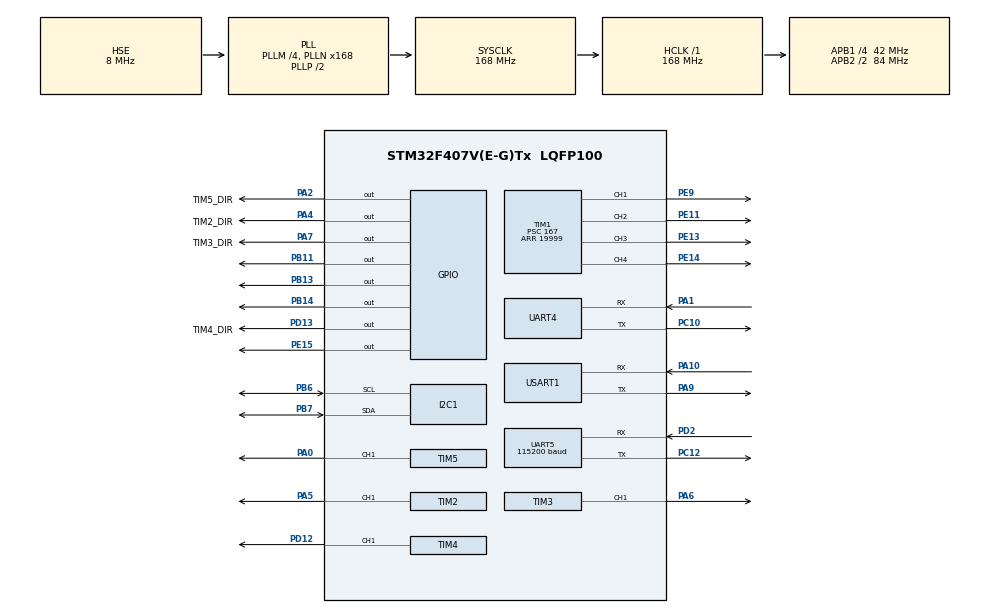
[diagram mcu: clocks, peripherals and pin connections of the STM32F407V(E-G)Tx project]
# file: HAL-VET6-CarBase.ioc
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Dma.Request0=UART5_RX
Dma.Request1=USART1_RX
Dma.Request2=USART1_TX
Dma.Request3=UART4_RX
Dma.UART4_RX.3.Direction=DMA_PERIPH_TO_MEMORY
Dma.UART4_RX.3.FIFOMode=DMA_FIFOMODE_DISABLE
Dma.UART4_RX.3.Instance=DMA1_Stream2
Dma.UART4_RX.3.MemDataAlignment=DMA_MDATAALIGN_BYTE
Dma.UART4_RX.3.MemInc=DMA_MINC_ENABLE
Dma.UART4_RX.3.Mode=DMA_CIRCULAR
Dma.UART4_RX.3.PeriphDataAlignment=DMA_PDATAALIGN_BYTE
Dma.UART4_RX.3.PeriphInc=DMA_PINC_DISABLE
Dma.UART4_RX.3.Priority=DMA_PRIORITY_LOW
Dma.UART5_RX.0.Direction=DMA_PERIPH_TO_MEMORY
Dma.UART5_RX.0.FIFOMode=DMA_FIFOMODE_DISABLE
Dma.UART5_RX.0.Instance=DMA1_Stream0
Dma.UART5_RX.0.MemDataAlignment=DMA_MDATAALIGN_BYTE
Dma.UART5_RX.0.MemInc=DMA_MINC_ENABLE
Dma.UART5_RX.0.Mode=DMA_CIRCULAR
Dma.UART5_RX.0.PeriphDataAlignment=DMA_PDATAALIGN_BYTE
Dma.UART5_RX.0.PeriphInc=DMA_PINC_DISABLE
Dma.UART5_RX.0.Priority=DMA_PRIORITY_LOW
Dma.USART1_RX.1.Direction=DMA_PERIPH_TO_MEMORY
Dma.USART1_RX.1.FIFOMode=DMA_FIFOMODE_DISABLE
Dma.USART1_RX.1.Instance=DMA2_Stream2
Dma.USART1_RX.1.MemDataAlignment=DMA_MDATAALIGN_BYTE
Dma.USART1_RX.1.MemInc=DMA_MINC_ENABLE
Dma.USART1_RX.1.Mode=DMA_NORMAL
Dma.USART1_RX.1.PeriphDataAlignment=DMA_PDATAALIGN_BYTE
Dma.USART1_RX.1.PeriphInc=DMA_PINC_DISABLE
Dma.USART1_RX.1.Priority=DMA_PRIORITY_LOW
Dma.USART1_TX.2.Direction=DMA_MEMORY_TO_PERIPH
Dma.USART1_TX.2.FIFOMode=DMA_FIFOMODE_DISABLE
Dma.USART1_TX.2.Instance=DMA2_Stream7
Dma.USART1_TX.2.MemDataAlignment=DMA_MDATAALIGN_BYTE
Dma.USART1_TX.2.MemInc=DMA_MINC_ENABLE
Dma.USART1_TX.2.Mode=DMA_NORMAL
Dma.USART1_TX.2.PeriphDataAlignment=DMA_PDATAALIGN_BYTE
Dma.USART1_TX.2.PeriphInc=DMA_PINC_DISABLE
Dma.USART1_TX.2.Priority=DMA_PRIORITY_LOW
Mcu.Family=STM32F4
Mcu.Name=STM32F407V(E-G)Tx
Mcu.Package=LQFP100
NVIC.DMA1_Stream0_IRQn=true\:0\:0\:false\:false\:true\:false\:true\:true
NVIC.DMA1_Stream2_IRQn=true\:0\:0\:false\:false\:true\:false\:true\:true
NVIC.DMA2_Stream2_IRQn=true\:0\:0\:false\:false\:true\:false\:true\:true
NVIC.DMA2_Stream7_IRQn=true\:0\:0\:false\:false\:true\:false\:true\:true
NVIC.PriorityGroup=NVIC_PRIORITYGROUP_4
NVIC.TIM1_UP_TIM10_IRQn=true\:15\:0\:true\:false\:true\:true\:true\:true
NVIC.UART4_IRQn=true\:1\:0\:true\:false\:true\:true\:true\:true
NVIC.UART5_IRQn=true\:0\:0\:true\:false\:true\:true\:true\:true
PA0-WKUP.Signal=S_TIM5_CH1
PA1.Mode=Asynchronous
PA1.Signal=UART4_RX
PA10.Mode=Asynchronous
PA10.Signal=USART1_RX
PA13.Mode=Serial_Wire
PA13.Signal=SYS_JTMS-SWDIO
PA14.Mode=Serial_Wire
PA14.Signal=SYS_JTCK-SWCLK
PA2.GPIO_Label=TIM5_DIR
PA2.Signal=GPIO_Output
PA4.GPIO_Label=TIM2_DIR
PA4.Signal=GPIO_Output
PA5.Signal=S_TIM2_CH1_ETR
PA6.Signal=S_TIM3_CH1
PA7.GPIO_Label=TIM3_DIR
PA7.Signal=GPIO_Output
PA9.Mode=Asynchronous
PA9.Signal=USART1_TX
PB11.GPIO_PuPd=GPIO_PULLUP
PB11.PinState=GPIO_PIN_SET
PB11.Signal=GPIO_Output
PB13.GPIO_PuPd=GPIO_PULLUP
PB13.PinState=GPIO_PIN_SET
PB13.Signal=GPIO_Output
PB14.GPIO_PuPd=GPIO_PULLUP
PB14.PinState=GPIO_PIN_SET
PB14.Signal=GPIO_Output
PB6.Mode=I2C
PB6.Signal=I2C1_SCL
PB7.Mode=I2C
PB7.Signal=I2C1_SDA
PC10.Mode=Asynchronous
PC10.Signal=UART4_TX
PC12.Mode=Asynchronous
PC12.Signal=UART5_TX
PC14-OSC32_IN.Mode=LSE-External-Oscillator
PC14-OSC32_IN.Signal=RCC_OSC32_IN
PC15-OSC32_OUT.Mode=LSE-External-Oscillator
PC15-OSC32_OUT.Signal=RCC_OSC32_OUT
PD12.Signal=S_TIM4_CH1
PD13.GPIO_Label=TIM4_DIR
PD13.Signal=GPIO_Output
PD2.GPIO_PuPd=GPIO_NOPULL
PD2.Mode=Asynchronous
PD2.Signal=UART5_RX
PE11.Signal=S_TIM1_CH2
PE13.Signal=S_TIM1_CH3
PE14.Signal=S_TIM1_CH4
PE15.GPIO_PuPd=GPIO_PULLUP
PE15.PinState=GPIO_PIN_SET
PE15.Signal=GPIO_Output
PE9.Signal=S_TIM1_CH1
PH0-OSC_IN.Mode=HSE-External-Oscillator
PH0-OSC_IN.Signal=RCC_OSC_IN
PH1-OSC_OUT.Mode=HSE-External-Oscillator
PH1-OSC_OUT.Signal=RCC_OSC_OUT
ProjectManager.HeapSize=0x1000
ProjectManager.StackSize=0x1000
ProjectManager.TargetToolchain=MDK-ARM V5.32
RCC.48MHZClocksFreq_Value=84000000
RCC.AHBFreq_Value=168000000
RCC.APB1CLKDivider=RCC_HCLK_DIV4
RCC.APB1Freq_Value=42000000
RCC.APB1TimFreq_Value=84000000
RCC.APB2CLKDivider=RCC_HCLK_DIV2
RCC.APB2Freq_Value=84000000
RCC.APB2TimFreq_Value=168000000
RCC.CortexFreq_Value=168000000
RCC.HCLKFreq_Value=168000000
RCC.HSE_VALUE=8000000
RCC.HSI_VALUE=16000000
RCC.PLLM=4
RCC.PLLN=168
RCC.PLLSourceVirtual=RCC_PLLSOURCE_HSE
RCC.SYSCLKFreq_VALUE=168000000
RCC.SYSCLKSource=RCC_SYSCLKSOURCE_PLLCLK
RCC.VCOOutputFreq_Value=336000000
SH.S_TIM1_CH1.0=TIM1_CH1,PWM Generation1 CH1
SH.S_TIM1_CH2.0=TIM1_CH2,PWM Generation2 CH2
SH.S_TIM1_CH3.0=TIM1_CH3,PWM Generation3 CH3
SH.S_TIM1_CH4.0=TIM1_CH4,PWM Generation4 CH4
SH.S_TIM2_CH1_ETR.0=TIM2_CH1,PWM Generation1 CH1
SH.S_TIM3_CH1.0=TIM3_CH1,PWM Generation1 CH1
SH.S_TIM4_CH1.0=TIM4_CH1,PWM Generation1 CH1
SH.S_TIM5_CH1.0=TIM5_CH1,PWM Generation1 CH1
TIM1.Channel-PWM\ Generation1\ CH1=TIM_CHANNEL_1
TIM1.Channel-PWM\ Generation2\ CH2=TIM_CHANNEL_2
TIM1.Channel-PWM\ Generation3\ CH3=TIM_CHANNEL_3
TIM1.Channel-PWM\ Generation4\ CH4=TIM_CHANNEL_4
TIM1.Period=19999
TIM1.Prescaler=167
TIM10.Period=9999
TIM10.Prescaler=1679
TIM2.Channel-PWM\ Generation1\ CH1=TIM_CHANNEL_1
TIM2.Period=20000
TIM2.Prescaler=288
TIM2.Pulse-PWM\ Generation1\ CH1=10000
TIM3.Channel-PWM\ Generation1\ CH1=TIM_CHANNEL_1
TIM3.OC1Preload_PWM=ENABLE
TIM3.OCFastMode_PWM-PWM\ Generation1\ CH1=TIM_OCFAST_DISABLE
TIM3.OCPolarity_1=TIM_OCPOLARITY_LOW
TIM3.Period=20000
TIM3.Prescaler=288
TIM3.Pulse-PWM\ Generation1\ CH1=0
TIM4.Channel-PWM\ Generation1\ CH1=TIM_CHANNEL_1
TIM4.OCPolarity_1=TIM_OCPOLARITY_HIGH
TIM4.Period=20000
TIM4.Prescaler=288
TIM4.Pulse-PWM\ Generation1\ CH1=10000
TIM5.Channel-PWM\ Generation1\ CH1=TIM_CHANNEL_1
TIM5.Period=100
TIM5.Prescaler=288
TIM5.Pulse-PWM\ Generation1\ CH1=50
UART4.VirtualMode=Asynchronous
UART5.BaudRate=115200
UART5.VirtualMode=Asynchronous
USART1.VirtualMode=VM_ASYNC
VP_TIM10_VS_ClockSourceINT.Mode=Enable_Timer
VP_TIM2_VS_ClockSourceINT.Mode=Internal
VP_TIM3_VS_ClockSourceINT.Mode=Internal
VP_TIM4_VS_ClockSourceINT.Mode=Internal
VP_TIM5_VS_ClockSourceINT.Mode=Internal
board=custom

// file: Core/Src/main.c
/* USER CODE BEGIN Header */
/**
  ******************************************************************************
  * @file           : main.c
  * @brief          : Main program body
  ******************************************************************************
  * @attention
  *
  * Copyright (c) 2025 STMicroelectronics.
  * All rights reserved.
  *
  * This software is licensed under terms that can be found in the LICENSE file
  * in the root directory of this software component.
  * If no LICENSE file comes with this software, it is provided AS-IS.
  *
  ******************************************************************************
  */
/* USER CODE END Header */
#include "main.h"
#include "dma.h"
#include "i2c.h"
#include "tim.h"
#include "usart.h"
#include "gpio.h"

/* USER CODE BEGIN Includes */
#include "Motor_CARBASE.h"
#include "ROBOTIC_Arm.h"

/* USER CODE END Includes */

/* USER CODE BEGIN PV */
uint8_t DEBUG_USART[]={0,0,0,0,0,0,0,0,0,0,0,0,0,0,0,0,0,0,0,0,0};
Color Mission_Order[6]={Green,Blue,Red,Blue,Green,Red};
Color Color_Order[3]={Blue,Green,Red};                 //颜色顺序
/* USER CODE END PV */

void SystemClock_Config(void);
/* USER CODE BEGIN PFP */
void Raw_Material(void);
void Rough_processing(void);
void Temporary_storage(void);
void Position_Test(void);
/* USER CODE END PFP */

/* USER CODE BEGIN 0 */
#define Rotation_direction  -1 //逆时针-1顺时针1全夹0
/* USER CODE END 0 */

int main(void)
{

  /* MCU Configuration--------------------------------------------------------*/

  /* Reset of all peripherals, Initializes the Flash interface and the Systick. */
  HAL_Init();

  /* Configure the system clock */
  SystemClock_Config();

  /* Initialize all configured peripherals */
  MX_GPIO_Init();
  MX_DMA_Init();
  MX_TIM2_Init();
  MX_TIM3_Init();
  MX_TIM4_Init();
  MX_TIM5_Init();
  MX_TIM10_Init();
  MX_TIM1_Init();
  MX_UART4_Init();
  MX_UART5_Init();
  MX_USART1_UART_Init();
  MX_I2C1_Init();
  /* USER CODE BEGIN 2 */
  LED_ONOFF(LED_ALL,1);
  HAL_Delay(1000);
  OLED_Init();
  ROBOTICArm_initialize();
  OLED_Clear();
  enum Mission_Current {None,Test,QR_First,Raw_Material_First,Rough_processing_First,Temporary_storage_First,QR_Second,Raw_Material_Second,End,Rough_processing_Second,Temporary_storage_Second};
  /* USER CODE END 2 */

  /* Infinite loop */
  /* USER CODE BEGIN WHILE */
  LED_ONOFF(LED_ALL,0);
  ////////////////////////Test
  enum Mission_Current Mission_Select=QR_First;
  ///////////////////////QR_First
  while (1)
  {
		switch (Mission_Select)
		{
			case Test:
        LED_ONOFF(LED3,1);//while(1);
        /*_____________CARBASE_____________*/
        // TURN(Car_Posture_Right,Car_Posture_Up);
        // CarMove_TO_Global(RoughProcess_CARPOSITION.X_POSITION,Temporary_CARPOSITION.Y_POSITION,Temporary_CARPOSITION.Posture,VOID_FUNCTION);
        // CarMove_TO_Global(Temporary_CARPOSITION.X_POSITION,Temporary_CARPOSITION.Y_POSITION,Temporary_CARPOSITION.Posture,VOID_FUNCTION);
        // CarMove_TO_Global(0,10,Car_Posture_Left,VOID_FUNCTION);
        // HAL_Delay(500);
        // Error_compensation(Raw_Material_Compensation);
        // Error_compensation(Angle_compensation);
        // Error_compensation(UnStacking_Correction);
        // while (1)
        // {
        //   Gyroscopes_ARRAY_Handle();
        //   HAL_Delay(100);
        // }
        // Position_Test();
        /*_____________ROBOTICARM_____________*/
        // ROBOTICArm_DirectlyMove(Red_PlacementLocation_Unstack.XPosition,Red_PlacementLocation_Unstack.YPosition,Red_PlacementLocation_Unstack.ZPosition,Claw_ReleaseFull,1,500);
        // ROBOTICArm_DirectlyMove(Raw_Material_Scanning.XPosition-110,Raw_Material_Scanning.YPosition,Raw_Material_Scanning.ZPosition+10,Claw_ReleaseFull,200,1000);
        // ROBOTICArm_DirectlyMove(Raw_Material_ClawFront.XPosition,Raw_Material_ClawFront.YPosition,Raw_Material_ClawFront.ZPosition,Claw_ReleaseFull,200,1000);
        // ROBOTICArm_DirectlyMove(Raw_Material_ClawLeft.XPosition+20,Raw_Material_ClawLeft.YPosition,Raw_Material_ClawLeft.ZPosition+50,Claw_ReleaseFull,200,1);
        // SERVO_ClawSet(Claw_ReleaseFull);
        /*_____________MISSION_____________*/
        // while(rk3588_Arry[1]==0x67)HAL_Delay(10);
        // LED_ONOFF(LED1,0);
        // for (uint8_t i = 0; i < 6; i++)Mission_Order[i]=(Color)(rk3588_Arry[i+2]-1);
        Raw_Material();
        // Rough_processing();
        // Temporary_storage();
        // HAL_Delay(100);
        // Temporary_storage();
        /*_____________OTHER_____________*/
        OLED_SHOWBIGNUM();
        LED_ONOFF(LED3,0);
        Mission_Select=None;
        break;
      /*-------------------------------------------------------------------------------------------------------------------------------------------*/
			case QR_First:
        //Start and scanning QR code
        CarMove_TO_Global(QR_CARPOSITION.X_POSITION,Start_CARPOSITION.Y_POSITION,QR_CARPOSITION.Posture,VOID_FUNCTION);
        CarMove_TO_Global(QR_CARPOSITION.X_POSITION,QR_CARPOSITION.Y_POSITION,QR_CARPOSITION.Posture,VOID_FUNCTION);
        LED_ONOFF(LED1,1);
        while(rk3588_Arry[1]==0x67)HAL_Delay(10);
        LED_ONOFF(LED1,0);
        for (uint8_t i = 0; i < 6; i++)Mission_Order[i]=(Color)(rk3588_Arry[i+2]-1);
        OLED_SHOWBIGNUM();
			case Raw_Material_First:
        //Raw_Material
        CarMove_TO_Global(RawMaterial_CARPOSITION.X_POSITION,QR_CARPOSITION.Y_POSITION,QR_CARPOSITION.Posture,VOID_FUNCTION);
        CarMove_TO_Global(RawMaterial_CARPOSITION.X_POSITION,RawMaterial_CARPOSITION.Y_POSITION,RawMaterial_CARPOSITION.Posture,VOID_FUNCTION);
				Raw_Material();
      case Rough_processing_First:
        //Rough processing area
        CarMove_TO_Global(RawMaterial_CARPOSITION.X_POSITION,RoughProcess_CARPOSITION.Y_POSITION,RawMaterial_CARPOSITION.Posture,VOID_FUNCTION);
        CarMove_TO_Global(RoughProcess_CARPOSITION.X_POSITION,RoughProcess_CARPOSITION.Y_POSITION,RoughProcess_CARPOSITION.Posture,VOID_FUNCTION);
        Rough_processing();
      case Temporary_storage_First:
        //Temporary_storage
        CarMove_TO_Global(RoughProcess_CARPOSITION.X_POSITION,Temporary_CARPOSITION.Y_POSITION,Temporary_CARPOSITION.Posture,VOID_FUNCTION);
        CarMove_TO_Global(Temporary_CARPOSITION.X_POSITION,Temporary_CARPOSITION.Y_POSITION,Temporary_CARPOSITION.Posture,VOID_FUNCTION);
        Temporary_storage();
        ROBOTICArm_initialize();
      /*-------------------------------------------------------------------------------------------------------------------------------------------*/
      case Raw_Material_Second:
        //Raw_Material_Second
        CarMove_TO_Global(RawMaterial_CARPOSITION_Second.X_POSITION,Temporary_CARPOSITION.Y_POSITION,Car_Posture_Up,ROBOTICArm_initialize);
        CarMove_TO_Global(RawMaterial_CARPOSITION_Second.X_POSITION,RawMaterial_CARPOSITION_Second.Y_POSITION,RawMaterial_CARPOSITION_Second.Posture,VOID_FUNCTION);
        Raw_Material();
      case Rough_processing_Second:
        //Rough_processing_Second
        CarMove_TO_Global(RawMaterial_CARPOSITION_Second.X_POSITION,RoughProcess_CARPOSITION_Second.Y_POSITION,RawMaterial_CARPOSITION_Second.Posture,VOID_FUNCTION);
        CarMove_TO_Global(RoughProcess_CARPOSITION_Second.X_POSITION,RoughProcess_CARPOSITION_Second.Y_POSITION,RoughProcess_CARPOSITION_Second.Posture,VOID_FUNCTION);
        Rough_processing();
      case Temporary_storage_Second:
        //Temporary_storage_Second
        CarMove_TO_Global(RoughProcess_CARPOSITION_Second.X_POSITION,Temporary_CARPOSITION_Second.Y_POSITION,Temporary_CARPOSITION_Second.Posture,VOID_FUNCTION);
        CarMove_TO_Global(Temporary_CARPOSITION_Second.X_POSITION,Temporary_CARPOSITION_Second.Y_POSITION,Temporary_CARPOSITION_Second.Posture,VOID_FUNCTION);
        Temporary_storage();
        ROBOTICArm_initialize();
      case End:
        //End
        CarMove_TO_Global(RawMaterial_CARPOSITION_Second.X_POSITION,Temporary_CARPOSITION_Second.Y_POSITION,Start_CARPOSITION_Second.Posture,VOID_FUNCTION);
        CarMove_TO_Global(RawMaterial_CARPOSITION_Second.X_POSITION,Start_CARPOSITION_Second.Y_POSITION,Start_CARPOSITION_Second.Posture,VOID_FUNCTION);
        CarMove_TO_Global(Start_CARPOSITION_Second.X_POSITION,Start_CARPOSITION_Second.Y_POSITION,Start_CARPOSITION_Second.Posture,VOID_FUNCTION);
        Mission_Select=None;
			default:
        LED_ONOFF(LED_ALL,1);
				break;
		}
  }

    /* USER CODE END WHILE */

}

void SystemClock_Config(void)
{
  RCC_OscInitTypeDef RCC_OscInitStruct = {0};
  RCC_ClkInitTypeDef RCC_ClkInitStruct = {0};

  /** Configure the main internal regulator output voltage
  */
  __HAL_RCC_PWR_CLK_ENABLE();
  __HAL_PWR_VOLTAGESCALING_CONFIG(PWR_REGULATOR_VOLTAGE_SCALE1);

  /** Initializes the RCC Oscillators according to the specified parameters
  * in the RCC_OscInitTypeDef structure.
  */
  RCC_OscInitStruct.OscillatorType = RCC_OSCILLATORTYPE_HSE;
  RCC_OscInitStruct.HSEState = RCC_HSE_ON;
  RCC_OscInitStruct.PLL.PLLState = RCC_PLL_ON;
  RCC_OscInitStruct.PLL.PLLSource = RCC_PLLSOURCE_HSE;
  RCC_OscInitStruct.PLL.PLLM = 4;
  RCC_OscInitStruct.PLL.PLLN = 168;
  RCC_OscInitStruct.PLL.PLLP = RCC_PLLP_DIV2;
  RCC_OscInitStruct.PLL.PLLQ = 4;
  if (HAL_RCC_OscConfig(&RCC_OscInitStruct) != HAL_OK)
  {
    Error_Handler();
  }

  /** Initializes the CPU, AHB and APB buses clocks
  */
  RCC_ClkInitStruct.ClockType = RCC_CLOCKTYPE_HCLK|RCC_CLOCKTYPE_SYSCLK
                              |RCC_CLOCKTYPE_PCLK1|RCC_CLOCKTYPE_PCLK2;
  RCC_ClkInitStruct.SYSCLKSource = RCC_SYSCLKSOURCE_PLLCLK;
  RCC_ClkInitStruct.AHBCLKDivider = RCC_SYSCLK_DIV1;
  RCC_ClkInitStruct.APB1CLKDivider = RCC_HCLK_DIV4;
  RCC_ClkInitStruct.APB2CLKDivider = RCC_HCLK_DIV2;

  if (HAL_RCC_ClockConfig(&RCC_ClkInitStruct, FLASH_LATENCY_5) != HAL_OK)
  {
    Error_Handler();
  }
}

/* USER CODE BEGIN 4 */
/*Go to the QR code and raw material area.*/
void Raw_Material(void)
{
  static uint8_t Raw_Material_CNT=0;
  uint8_t Forward_Color=Blue;
  uint8_t Forward_ColorNum=0,Mission_ColorNum=0;
  //Error compensation before clamping
  Error_compensation(Raw_Material_Compensation);
  LED_ONOFF(LED3,1);
  HAL_Delay(100);
  Send_MissionPack(Raw_Material_Mission,Red);
	rk3588_Arry[6]=0;
  while(rk3588_Arry[6]!=0x03)HAL_Delay(10);
  rk3588_Arry[6]=0;
  for (uint8_t i = 0; i < 3; i++)Color_Order[i]=(Color)(rk3588_Arry[i+2]);
  HAL_Delay(100);
  LED_ONOFF(LED3,0);
  //Three times clamping
  rk3588_Arry[6]=0x00;
  Variable_Flag Claw_=No;
  for (int8_t n = 0; n < 3;)
  {
    ROBOTICArm_DirectlyMove(Raw_Material_Scanning.XPosition,Raw_Material_Scanning.YPosition,Raw_Material_Scanning.ZPosition,Claw_ReleaseFull,1,1);
    //Send task and wait for feedback
    Forward_Color=7;
    rk3588_Arry[6]=0x00;
    Send_MissionPack(Raw_Material_Mission,Mission_Order[n+Raw_Material_CNT*3]);
    while (rk3588_Arry[6]!=0x03){LED_ONOFF(LED2,1);}LED_ONOFF(LED2,0);
    HAL_Delay(10);
    Forward_Color=rk3588_Arry[7];
    rk3588_Arry[6]=0x00;
    //Analysis sequence
    if(Mission_Order[n+Raw_Material_CNT*3]==Forward_Color)//就在面前
    {
      // ROBOTICArm_DirectlyMove(Raw_Material_ClawFront.XPosition-10,Raw_Material_ClawFront.YPosition-10,Raw_Material_ClawFront.ZPosition+100,Claw_ReleaseFull,200,1);
      #if Rotation_direction==-1
      ROBOTICArm_linearInterpolationAlgorithm(Raw_Material_ClawFront.XPosition-40,Raw_Material_ClawFront.YPosition+15,Raw_Material_ClawFront.ZPosition,Claw_Clawing,400);
      #elif Rotation_direction==1
      ROBOTICArm_linearInterpolationAlgorithm(Raw_Material_ClawFront.XPosition-40,Raw_Material_ClawFront.YPosition-15,Raw_Material_ClawFront.ZPosition,Claw_Clawing,200);
      #elif Rotation_direction==0
      ROBOTICArm_linearInterpolationAlgorithm(Raw_Material_ClawFront.XPosition,Raw_Material_ClawFront.YPosition,Raw_Material_ClawFront.ZPosition,Claw_Clawing,200);
      #endif
      ROBOTICArm_DirectlyMove(Raw_Material_ClawFront.XPosition,Raw_Material_ClawFront.YPosition,Raw_Material_ClawFront.ZPosition+100,Claw_Clawing,100,1);
      Claw_=Yes;
    }
    else
    {
      //Obtain the order of the front color and target color positions
      for (uint8_t i = 0; i < 3; i++)
      {
        if(Color_Order[i]==Forward_Color)
        {
          Forward_ColorNum=i;break;
        }
      }
      for (uint8_t i = 0; i < 3; i++)
      {
        if(Color_Order[i]==Mission_Order[n+Raw_Material_CNT*3])
        {
          Mission_ColorNum=i;break;
        }
      }
      //面前的和任务所需的索引差值
      int8_t Delta_Num=((int8_t)Forward_ColorNum-(int8_t)Mission_ColorNum);
      if(abs(Delta_Num)==2)//不是相邻的
      {
        if(Delta_Num>0)
        {//面前的在靠后索引，所需的在靠前索引
          #if Rotation_direction==1||Rotation_direction==0
          ROBOTICArm_linearInterpolationAlgorithm(Raw_Material_ClawRight.XPosition+50,Raw_Material_ClawRight.YPosition,Raw_Material_ClawRight.ZPosition+10,Claw_ReleaseFull,1);
					ROBOTICArm_linearInterpolationAlgorithm(Raw_Material_ClawRight.XPosition,Raw_Material_ClawRight.YPosition,Raw_Material_ClawRight.ZPosition,Claw_Clawing,250);
          ROBOTICArm_DirectlyMove(Raw_Material_ClawRight.XPosition,Raw_Material_ClawRight.YPosition,Raw_Material_ClawRight.ZPosition+150,Claw_Clawing,50,1);
          Claw_=Yes;
          #endif
        }
        else
        {//面前的在靠前索引，所需的在靠后索引
          #if Rotation_direction==-1||Rotation_direction==0
          ROBOTICArm_linearInterpolationAlgorithm(Raw_Material_ClawLeft.XPosition+50,Raw_Material_ClawLeft.YPosition,Raw_Material_ClawLeft.ZPosition+10,Claw_ReleaseFull,1);
					ROBOTICArm_linearInterpolationAlgorithm(Raw_Material_ClawLeft.XPosition,Raw_Material_ClawLeft.YPosition,Raw_Material_ClawLeft.ZPosition,Claw_Clawing,250);
          ROBOTICArm_DirectlyMove(Raw_Material_ClawLeft.XPosition,Raw_Material_ClawLeft.YPosition,Raw_Material_ClawLeft.ZPosition+150,Claw_Clawing,50,1);
          Claw_=Yes;
          #endif
        }
      }
      else //相邻的
      {
        if(Delta_Num>0)
        {//面前的靠后，目标的靠前
          #if Rotation_direction==-1||Rotation_direction==0
					ROBOTICArm_linearInterpolationAlgorithm(Raw_Material_ClawLeft.XPosition+50,Raw_Material_ClawLeft.YPosition,Raw_Material_ClawLeft.ZPosition+10,Claw_ReleaseFull,1);
					ROBOTICArm_linearInterpolationAlgorithm(Raw_Material_ClawLeft.XPosition,Raw_Material_ClawLeft.YPosition,Raw_Material_ClawLeft.ZPosition,Claw_Clawing,250);
          ROBOTICArm_DirectlyMove(Raw_Material_ClawLeft.XPosition,Raw_Material_ClawLeft.YPosition,Raw_Material_ClawLeft.ZPosition+150,Claw_Clawing,50,1);
          Claw_=Yes;
          #endif
        }
        else
        {//面前的靠前，目标的靠后
          #if Rotation_direction==1||Rotation_direction==0
          ROBOTICArm_linearInterpolationAlgorithm(Raw_Material_ClawRight.XPosition+50,Raw_Material_ClawRight.YPosition,Raw_Material_ClawRight.ZPosition+10,Claw_ReleaseFull,1);
					ROBOTICArm_linearInterpolationAlgorithm(Raw_Material_ClawRight.XPosition,Raw_Material_ClawRight.YPosition,Raw_Material_ClawRight.ZPosition,Claw_Clawing,250);
          ROBOTICArm_DirectlyMove(Raw_Material_ClawRight.XPosition,Raw_Material_ClawRight.YPosition,Raw_Material_ClawRight.ZPosition+150,Claw_Clawing,50,1);
          Claw_=Yes;
          #endif
        }
      }
    }
    // ROBOTICArm_DirectlyMove(Relay_point.XPosition,Relay_point.YPosition,Relay_point.ZPosition,Claw_Clawing,100,1);
    //Store in warehouse
    if(Claw_==Yes)
    {
      Claw_=No;
      ROBOTICArm_DirectlyMove(Relay_point.XPosition,Relay_point.YPosition,Relay_point.ZPosition,Claw_Clawing,100,1);
      switch (Mission_Order[n+Raw_Material_CNT*3])
      {
      case Red:
        ROBOTICArm_DirectlyMove(Red_Warehouse.XPosition,Red_Warehouse.YPosition,Red_Warehouse.ZPosition+90,Claw_Clawing,800,1);
        ROBOTICArm_linearInterpolationAlgorithm(Red_Warehouse.XPosition,Red_Warehouse.YPosition,Red_Warehouse.ZPosition,Claw_Release,150);
        ROBOTICArm_DirectlyMove(Red_Warehouse.XPosition,Red_Warehouse.YPosition,Red_Warehouse.ZPosition+50,Claw_Release,100,1);
        break;
      case Green:
        ROBOTICArm_DirectlyMove(Green_Warehouse.XPosition,Green_Warehouse.YPosition,Green_Warehouse.ZPosition+80,Claw_Clawing,600,1);
				ROBOTICArm_linearInterpolationAlgorithm(Green_Warehouse.XPosition,Green_Warehouse.YPosition,Green_Warehouse.ZPosition,Claw_Release,150);
        ROBOTICArm_DirectlyMove(Green_Warehouse.XPosition,Green_Warehouse.YPosition,Green_Warehouse.ZPosition+50,Claw_Release,100,1);
        break;
      case Blue:
        ROBOTICArm_DirectlyMove(Blue_Warehouse.XPosition,Blue_Warehouse.YPosition,Blue_Warehouse.ZPosition+90,Claw_Clawing,500,1);
				ROBOTICArm_linearInterpolationAlgorithm(Blue_Warehouse.XPosition,Blue_Warehouse.YPosition,Blue_Warehouse.ZPosition,Claw_Release,150);
        ROBOTICArm_DirectlyMove(Blue_Warehouse.XPosition,Blue_Warehouse.YPosition,Blue_Warehouse.ZPosition+90,Claw_Release,100,1);
        break;
      default:
        break;
      }
      n++;
    }
  }
  Raw_Material_CNT++;
  Send_MissionPack(9,1);
}
void Rough_processing(void)
{
  static uint8_t Rough_processing_CNT=0;
  if(Rough_processing_CNT==0)
  {
    Error_compensation(Angle_compensation);
  }
  Error_compensation(UnStacking_Correction);
  uint8_t n = 0;
  //claw from warehouse
  ROBOTICArm_linearInterpolationAlgorithm(Red_PlacementLocation_Unstack.XPosition,Red_PlacementLocation_Unstack.YPosition,Red_Warehouse.ZPosition+75,Claw_Clawing,1);
  for (; n < 3;)
  {
    switch (Mission_Order[n+Rough_processing_CNT*3])
    {
    case Red:
      //Claw from WareHouse
      ROBOTICArm_linearInterpolationAlgorithm(Red_Warehouse.XPosition,Red_Warehouse.YPosition,Red_Warehouse.ZPosition+70,Claw_Release,1);
      ROBOTICArm_linearInterpolationAlgorithm(Red_Warehouse.XPosition,Red_Warehouse.YPosition,Red_Warehouse.ZPosition,Claw_Clawing,300);
      ROBOTICArm_linearInterpolationAlgorithm(Red_Warehouse.XPosition,Red_Warehouse.YPosition,Red_Warehouse.ZPosition+70,Claw_Clawing,1);
      //Goto Midpoint
      ROBOTICArm_linearInterpolationAlgorithm(Red_PlacementLocation_Unstack.XPosition,Red_PlacementLocation_Unstack.YPosition,Red_Warehouse.ZPosition+60,Claw_Clawing,1);
      //Goto PacePoint
      ROBOTICArm_linearInterpolationAlgorithm(Red_PlacementLocation_Unstack.XPosition,Red_PlacementLocation_Unstack.YPosition,Red_PlacementLocation_Unstack.ZPosition,Claw_Release,200);
      ROBOTICArm_linearInterpolationAlgorithm(Red_PlacementLocation_Unstack.XPosition,Red_PlacementLocation_Unstack.YPosition,Red_PlacementLocation_Unstack.ZPosition+60,Claw_Release,1);
      break;
    case Green:
      //Claw from WareHouse
      ROBOTICArm_linearInterpolationAlgorithm(Green_Warehouse.XPosition,Green_Warehouse.YPosition,Green_Warehouse.ZPosition+70,Claw_Release,1);
      ROBOTICArm_linearInterpolationAlgorithm(Green_Warehouse.XPosition,Green_Warehouse.YPosition,Green_Warehouse.ZPosition,Claw_Clawing,300);
      ROBOTICArm_linearInterpolationAlgorithm(Green_Warehouse.XPosition,Green_Warehouse.YPosition,Green_Warehouse.ZPosition+70,Claw_Clawing,1);
      //Goto Midpoint
      ROBOTICArm_linearInterpolationAlgorithm(Red_PlacementLocation_Unstack.XPosition,Red_PlacementLocation_Unstack.YPosition,Red_Warehouse.ZPosition+70,Claw_Clawing,1);
      //Goto PacePoint
      ROBOTICArm_linearInterpolationAlgorithm(Green_PlacementLocation_Unstack.XPosition,Green_PlacementLocation_Unstack.YPosition,Green_PlacementLocation_Unstack.ZPosition+60,Claw_Clawing,1);
      ROBOTICArm_linearInterpolationAlgorithm(Green_PlacementLocation_Unstack.XPosition,Green_PlacementLocation_Unstack.YPosition,Green_PlacementLocation_Unstack.ZPosition,Claw_Release,300);
      ROBOTICArm_linearInterpolationAlgorithm(Green_PlacementLocation_Unstack.XPosition,Green_PlacementLocation_Unstack.YPosition,Green_PlacementLocation_Unstack.ZPosition+60,Claw_Release,1);
      break;
    case Blue:
      //Claw from WareHouse
      ROBOTICArm_linearInterpolationAlgorithm(Blue_Warehouse.XPosition,Blue_Warehouse.YPosition,Blue_Warehouse.ZPosition+70,Claw_Release,1);
      ROBOTICArm_linearInterpolationAlgorithm(Blue_Warehouse.XPosition,Blue_Warehouse.YPosition,Blue_Warehouse.ZPosition,Claw_Clawing,300);
      ROBOTICArm_linearInterpolationAlgorithm(Blue_Warehouse.XPosition,Blue_Warehouse.YPosition,Blue_Warehouse.ZPosition+70,Claw_Clawing,1);
      //Goto Midpoint
      ROBOTICArm_linearInterpolationAlgorithm(Red_PlacementLocation_Unstack.XPosition,Red_PlacementLocation_Unstack.YPosition,Red_Warehouse.ZPosition+70,Claw_Clawing,1);
      //Goto PacePoint
      ROBOTICArm_linearInterpolationAlgorithm(Blue_PlacementLocation_Unstack.XPosition,Blue_PlacementLocation_Unstack.YPosition,Blue_PlacementLocation_Unstack.ZPosition+50,Claw_Clawing,1);
      ROBOTICArm_linearInterpolationAlgorithm(Blue_PlacementLocation_Unstack.XPosition,Blue_PlacementLocation_Unstack.YPosition,Blue_PlacementLocation_Unstack.ZPosition,Claw_Release,300);
      ROBOTICArm_linearInterpolationAlgorithm(Blue_PlacementLocation_Unstack.XPosition,Blue_PlacementLocation_Unstack.YPosition,Blue_PlacementLocation_Unstack.ZPosition+50,Claw_Release,1);
      break;
    default:
      break;
    }
    ROBOTICArm_linearInterpolationAlgorithm(Red_PlacementLocation_Unstack.XPosition,Red_PlacementLocation_Unstack.YPosition,Red_Warehouse.ZPosition+70,Claw_Release,1);
    //Goto Midpoint
    n++;
  }
  n=0;
  //claw form unstacking point
  for (; n < 3;)
  {
    switch (Mission_Order[n+Rough_processing_CNT*3])
    {
    case Red:
      //Claw from PacePoint
      ROBOTICArm_DirectlyMove(Red_PlacementLocation_Unstack.XPosition-5,Red_PlacementLocation_Unstack.YPosition-5,Red_Warehouse.ZPosition+75,Claw_ReleaseFull,300,1);
      ROBOTICArm_DirectlyMove(Red_PlacementLocation_Unstack.XPosition,Red_PlacementLocation_Unstack.YPosition,Red_PlacementLocation_Unstack.ZPosition,Claw_Clawing,200,300);
      ROBOTICArm_DirectlyMove(Red_PlacementLocation_Unstack.XPosition,Red_PlacementLocation_Unstack.YPosition,Red_Warehouse.ZPosition+75,Claw_Clawing,100,1);
      //Goto WareHouse
      ROBOTICArm_linearInterpolationAlgorithm(Red_Warehouse.XPosition,Red_Warehouse.YPosition,Red_Warehouse.ZPosition+75,Claw_Clawing,1);
      ROBOTICArm_linearInterpolationAlgorithm(Red_Warehouse.XPosition,Red_Warehouse.YPosition,Red_Warehouse.ZPosition,Claw_Release,300);
      ROBOTICArm_DirectlyMove(Red_Warehouse.XPosition,Red_Warehouse.YPosition,Red_Warehouse.ZPosition+75,Claw_Release,100,1);
      break;
    case Green:
      //Claw from PacePoint
      ROBOTICArm_DirectlyMove(Green_PlacementLocation_Unstack.XPosition+10,Green_PlacementLocation_Unstack.YPosition-10,Green_Warehouse.ZPosition+75,Claw_ReleaseFull,200,300);
      ROBOTICArm_DirectlyMove(Green_PlacementLocation_Unstack.XPosition+10,Green_PlacementLocation_Unstack.YPosition-10,Green_PlacementLocation_Unstack.ZPosition+65,Claw_ReleaseFull,1,200);
      ROBOTICArm_linearInterpolationAlgorithm(Green_PlacementLocation_Unstack.XPosition,Green_PlacementLocation_Unstack.YPosition,Green_PlacementLocation_Unstack.ZPosition,Claw_Clawing,300);
      //Goto Midpoint
      ROBOTICArm_DirectlyMove(Green_PlacementLocation_Unstack.XPosition,Green_PlacementLocation_Unstack.YPosition,Green_Warehouse.ZPosition+75,Claw_Clawing,200,1);
      //Goto WareHouse
      ROBOTICArm_DirectlyMove(Green_Warehouse.XPosition,Green_Warehouse.YPosition,Green_Warehouse.ZPosition+75,Claw_Clawing,400,1);
      ROBOTICArm_linearInterpolationAlgorithm(Green_Warehouse.XPosition,Green_Warehouse.YPosition,Green_Warehouse.ZPosition,Claw_Release,300);
      ROBOTICArm_DirectlyMove(Green_Warehouse.XPosition,Green_Warehouse.YPosition,Green_Warehouse.ZPosition+75,Claw_Release,100,1);
      break;
    case Blue:
      //Claw from PacePoint
      ROBOTICArm_DirectlyMove(Blue_PlacementLocation_Unstack.XPosition+13,Blue_PlacementLocation_Unstack.YPosition-18,Blue_Warehouse.ZPosition+75,Claw_Release,200,300);
      ROBOTICArm_DirectlyMove(Blue_PlacementLocation_Unstack.XPosition,Blue_PlacementLocation_Unstack.YPosition,Blue_PlacementLocation_Unstack.ZPosition,Claw_Clawing,200,200);
      //Goto Midpoint
      ROBOTICArm_DirectlyMove(Relay_point.XPosition,Relay_point.YPosition,Relay_point.ZPosition,Claw_Clawing,200,1);
      //Goto WareHouse
      ROBOTICArm_DirectlyMove(Blue_Warehouse.XPosition,Blue_Warehouse.YPosition,Blue_Warehouse.ZPosition+75,Claw_Clawing,300,1);
      ROBOTICArm_linearInterpolationAlgorithm(Blue_Warehouse.XPosition,Blue_Warehouse.YPosition,Blue_Warehouse.ZPosition,Claw_Release,300);
      ROBOTICArm_DirectlyMove(Blue_Warehouse.XPosition,Blue_Warehouse.YPosition,Blue_Warehouse.ZPosition+75,Claw_Release,100,1);
      break;
    default:
      break;
    }
    //Goto Midpoint
    ROBOTICArm_DirectlyMove(Relay_point.XPosition,Relay_point.YPosition,Relay_point.ZPosition,Claw_Release,200,1);
    n++;
  }
  Rough_processing_CNT++;
  Send_MissionPack(9,1);
}
void Temporary_storage(void)
{
  static uint8_t Temporary_storage_CNT = 0;
  if(Temporary_storage_CNT==0)
  {
    Error_compensation(Angle_compensation);
    Error_compensation(UnStacking_Correction);
  }
  else
  {
    Error_compensation(Angle_compensation);
    Error_compensation(Stacking_Correction);
  }
  uint8_t n = 0;
  //claw from warehouse
  for (; n < 3;)
  {
    ROBOTICArm_linearInterpolationAlgorithm(Red_PlacementLocation_Unstack.XPosition,Red_PlacementLocation_Unstack.YPosition,Red_Warehouse.ZPosition+75,Claw_Clawing,1);
    switch (Mission_Order[n+Temporary_storage_CNT*3])
    {
    case Red:
      //Claw from WareHouse
      ROBOTICArm_linearInterpolationAlgorithm(Red_Warehouse.XPosition,Red_Warehouse.YPosition,Red_Warehouse.ZPosition+75,Claw_Release,1);
      ROBOTICArm_linearInterpolationAlgorithm(Red_Warehouse.XPosition,Red_Warehouse.YPosition,Red_Warehouse.ZPosition,Claw_Clawing,300);
      ROBOTICArm_linearInterpolationAlgorithm(Red_Warehouse.XPosition,Red_Warehouse.YPosition,Red_Warehouse.ZPosition+75,Claw_Clawing,1);
      if(Temporary_storage_CNT==0)
      {
        //Goto Midpoint
        ROBOTICArm_linearInterpolationAlgorithm(Red_PlacementLocation_Unstack.XPosition,Red_PlacementLocation_Unstack.YPosition,Red_Warehouse.ZPosition+75,Claw_Clawing,1);
        //Goto PacePoint
        ROBOTICArm_linearInterpolationAlgorithm(Red_PlacementLocation_Unstack.XPosition,Red_PlacementLocation_Unstack.YPosition,Red_PlacementLocation_Unstack.ZPosition,Claw_Release,200);
        ROBOTICArm_linearInterpolationAlgorithm(Red_PlacementLocation_Unstack.XPosition,Red_PlacementLocation_Unstack.YPosition,Red_PlacementLocation_Unstack.ZPosition+100,Claw_Release,1);
      }
      else
      {
        //Goto Midpoint
        ROBOTICArm_linearInterpolationAlgorithm(Red_PlacementLocation_stack.XPosition,Red_PlacementLocation_stack.YPosition,Red_Warehouse.ZPosition+75,Claw_Clawing,1);
        //Goto PacePoint
        ROBOTICArm_linearInterpolationAlgorithm(Red_PlacementLocation_stack.XPosition,Red_PlacementLocation_stack.YPosition,Red_PlacementLocation_stack.ZPosition,Claw_Release,200);
        ROBOTICArm_linearInterpolationAlgorithm(Red_PlacementLocation_stack.XPosition,Red_PlacementLocation_stack.YPosition,Red_PlacementLocation_stack.ZPosition+50,Claw_Release,1);
      }
      break;
    case Green:
      //Claw from WareHouse
      ROBOTICArm_linearInterpolationAlgorithm(Green_Warehouse.XPosition,Green_Warehouse.YPosition,Green_Warehouse.ZPosition+75,Claw_Release,1);
      ROBOTICArm_linearInterpolationAlgorithm(Green_Warehouse.XPosition,Green_Warehouse.YPosition,Green_Warehouse.ZPosition,Claw_Clawing,300);
      ROBOTICArm_linearInterpolationAlgorithm(Green_Warehouse.XPosition,Green_Warehouse.YPosition,Green_Warehouse.ZPosition+75,Claw_Clawing,1);
      if(Temporary_storage_CNT==0)
      {
      //Goto Midpoint
      ROBOTICArm_linearInterpolationAlgorithm(Red_PlacementLocation_Unstack.XPosition,Red_PlacementLocation_Unstack.YPosition,Green_Warehouse.ZPosition+75,Claw_Clawing,1);
      //Goto PacePoint
      ROBOTICArm_linearInterpolationAlgorithm(Green_PlacementLocation_Unstack.XPosition,Green_PlacementLocation_Unstack.YPosition,Green_Warehouse.ZPosition+50,Claw_Clawing,1);
      ROBOTICArm_linearInterpolationAlgorithm(Green_PlacementLocation_Unstack.XPosition,Green_PlacementLocation_Unstack.YPosition,Green_PlacementLocation_Unstack.ZPosition,Claw_Release,300);
      ROBOTICArm_linearInterpolationAlgorithm(Green_PlacementLocation_Unstack.XPosition,Green_PlacementLocation_Unstack.YPosition,Green_Warehouse.ZPosition+50,Claw_Release,1);
      }
      else
      {
      //Goto Midpoint
      ROBOTICArm_linearInterpolationAlgorithm(Red_PlacementLocation_Unstack.XPosition,Red_PlacementLocation_Unstack.YPosition,Red_Warehouse.ZPosition+75,Claw_Clawing,1);
      //Goto PacePoint
      ROBOTICArm_linearInterpolationAlgorithm(Green_PlacementLocation_stack.XPosition,Green_PlacementLocation_stack.YPosition,Green_Warehouse.ZPosition+50,Claw_Clawing,1);
      ROBOTICArm_linearInterpolationAlgorithm(Green_PlacementLocation_stack.XPosition,Green_PlacementLocation_stack.YPosition,Green_PlacementLocation_stack.ZPosition,Claw_Release,300);
      ROBOTICArm_linearInterpolationAlgorithm(Green_PlacementLocation_stack.XPosition,Green_PlacementLocation_stack.YPosition,Green_Warehouse.ZPosition+50,Claw_Release,1);
      }
      break;
    case Blue:
      //Claw from WareHouse
      ROBOTICArm_linearInterpolationAlgorithm(Blue_Warehouse.XPosition,Blue_Warehouse.YPosition,Blue_Warehouse.ZPosition+75,Claw_Release,1);
      ROBOTICArm_linearInterpolationAlgorithm(Blue_Warehouse.XPosition,Blue_Warehouse.YPosition,Blue_Warehouse.ZPosition,Claw_Clawing,300);
      ROBOTICArm_linearInterpolationAlgorithm(Blue_Warehouse.XPosition,Blue_Warehouse.YPosition,Blue_Warehouse.ZPosition+75,Claw_Clawing,1);
      if(Temporary_storage_CNT==0)
      {
      //Goto Midpoint
      ROBOTICArm_linearInterpolationAlgorithm(Red_PlacementLocation_Unstack.XPosition,Red_PlacementLocation_Unstack.YPosition,Blue_Warehouse.ZPosition+75,Claw_Clawing,1);
      //Goto PacePoint
      ROBOTICArm_linearInterpolationAlgorithm(Blue_PlacementLocation_Unstack.XPosition,Blue_PlacementLocation_Unstack.YPosition,Blue_Warehouse.ZPosition+50,Claw_Clawing,1);
      ROBOTICArm_linearInterpolationAlgorithm(Blue_PlacementLocation_Unstack.XPosition,Blue_PlacementLocation_Unstack.YPosition,Blue_PlacementLocation_Unstack.ZPosition,Claw_Release,300);
      ROBOTICArm_linearInterpolationAlgorithm(Blue_PlacementLocation_Unstack.XPosition,Blue_PlacementLocation_Unstack.YPosition,Blue_Warehouse.ZPosition+50,Claw_Release,1);
      }
      else
      {
      //Goto Midpoint
      ROBOTICArm_linearInterpolationAlgorithm(Red_PlacementLocation_Unstack.XPosition,Red_PlacementLocation_Unstack.YPosition,Blue_Warehouse.ZPosition+75,Claw_Clawing,1);
      //Goto PacePoint
      ROBOTICArm_linearInterpolationAlgorithm(Blue_PlacementLocation_stack.XPosition,Blue_PlacementLocation_stack.YPosition,Blue_Warehouse.ZPosition+50,Claw_Clawing,1);
      ROBOTICArm_linearInterpolationAlgorithm(Blue_PlacementLocation_stack.XPosition,Blue_PlacementLocation_stack.YPosition,Blue_PlacementLocation_stack.ZPosition,Claw_Release,300);
      ROBOTICArm_linearInterpolationAlgorithm(Blue_PlacementLocation_stack.XPosition,Blue_PlacementLocation_stack.YPosition,Blue_Warehouse.ZPosition+50,Claw_Release,1);
      }
      break;
    default:
      break;
    }
    n++;
  }
  Temporary_storage_CNT++;
  Send_MissionPack(9,1);
}
void Position_Test(void)
{
  CarMove_TO_Global(QR_CARPOSITION.X_POSITION,Start_CARPOSITION.Y_POSITION,QR_CARPOSITION.Posture,VOID_FUNCTION);
  CarMove_TO_Global(QR_CARPOSITION.X_POSITION,QR_CARPOSITION.Y_POSITION,QR_CARPOSITION.Posture,VOID_FUNCTION);

  CarMove_TO_Global(RawMaterial_CARPOSITION.X_POSITION,RawMaterial_CARPOSITION.Y_POSITION,RawMaterial_CARPOSITION.Posture,VOID_FUNCTION);
  ROBOTICArm_DirectlyMove(Raw_Material_Scanning.XPosition,Raw_Material_Scanning.YPosition,Raw_Material_Scanning.ZPosition,Claw_ReleaseFull,700,500);
  Error_compensation(Raw_Material_Compensation);
  ROBOTICArm_initialize();

  CarMove_TO_Global(RawMaterial_CARPOSITION.X_POSITION,RoughProcess_CARPOSITION.Y_POSITION,RawMaterial_CARPOSITION.Posture,VOID_FUNCTION);
  CarMove_TO_Global(RoughProcess_CARPOSITION.X_POSITION,RoughProcess_CARPOSITION.Y_POSITION,RoughProcess_CARPOSITION.Posture,VOID_FUNCTION);
  Error_compensation(Angle_compensation);
  Error_compensation(UnStacking_Correction);

  CarMove_TO_Global(RoughProcess_CARPOSITION.X_POSITION,Temporary_CARPOSITION.Y_POSITION,Temporary_CARPOSITION.Posture,VOID_FUNCTION);
  CarMove_TO_Global(Temporary_CARPOSITION.X_POSITION,Temporary_CARPOSITION.Y_POSITION,Temporary_CARPOSITION.Posture,VOID_FUNCTION);
  Error_compensation(Angle_compensation);
  Error_compensation(UnStacking_Correction);

  CarMove_TO_Global(RawMaterial_CARPOSITION_Second.X_POSITION,Temporary_CARPOSITION.Y_POSITION,RawMaterial_CARPOSITION_Second.Posture,VOID_FUNCTION);
  CarMove_TO_Global(RawMaterial_CARPOSITION_Second.X_POSITION,RawMaterial_CARPOSITION_Second.Y_POSITION,RawMaterial_CARPOSITION_Second.Posture,VOID_FUNCTION);
  ROBOTICArm_DirectlyMove(Raw_Material_Scanning.XPosition,Raw_Material_Scanning.YPosition,Raw_Material_Scanning.ZPosition,Claw_ReleaseFull,700,500);
  Error_compensation(Raw_Material_Compensation);
  ROBOTICArm_initialize();

  CarMove_TO_Global(QR_CARPOSITION.X_POSITION,QR_CARPOSITION.Y_POSITION,QR_CARPOSITION.Posture,VOID_FUNCTION);
  CarMove_TO_Global(Start_CARPOSITION.X_POSITION,Start_CARPOSITION.Y_POSITION,QR_CARPOSITION.Posture,VOID_FUNCTION);
}
/* USER CODE END 4 */

void Error_Handler(void)
{
  __disable_irq();
  while (1)
  {
  }
}

#ifdef  USE_FULL_ASSERT
/**
  * @brief  Reports the name of the source file and the source line number
  *         where the assert_param error has occurred.
  * @param  file: pointer to the source file name
  * @param  line: assert_param error line source number
  * @retval None
  */
void assert_failed(uint8_t *file, uint32_t line)
{
  /* USER CODE BEGIN 6 */
  uint8_t ERROR_Positon[]={*file,line};
  HAL_UART_Transmit(&huart4,(const uint8_t*)ERROR_Positon,2,0xff);
  /* User can add his own implementation to report the file name and line number,
     ex: printf("Wrong parameters value: file %s on line %d\r\n", file, line) */
  /* USER CODE END 6 */
}
#endif /* USE_FULL_ASSERT */
